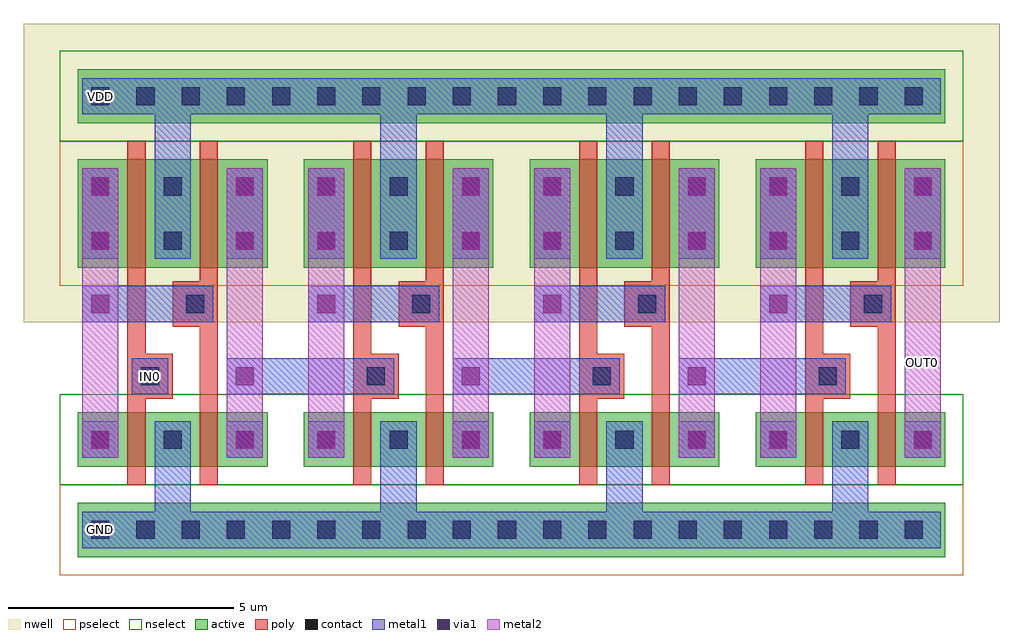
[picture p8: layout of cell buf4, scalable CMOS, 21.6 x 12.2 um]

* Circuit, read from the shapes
.subckt buf4 GND IN0 OUT0 VDD
M1 GND IN0 n1 GND nfet w=1.2u l=0.4u
M2 n2 n1 GND GND nfet w=1.2u l=0.4u
M3 GND n2 n3 GND nfet w=1.2u l=0.4u
M4 n4 n3 GND GND nfet w=1.2u l=0.4u
M5 GND n4 n5 GND nfet w=1.2u l=0.4u
M6 n6 n5 GND GND nfet w=1.2u l=0.4u
M7 GND n6 n7 GND nfet w=1.2u l=0.4u
M8 OUT0 n7 GND GND nfet w=1.2u l=0.4u
M9 VDD IN0 n1 VDD pfet w=2.4u l=0.4u
M10 n2 n1 VDD VDD pfet w=2.4u l=0.4u
M11 VDD n2 n3 VDD pfet w=2.4u l=0.4u
M12 n4 n3 VDD VDD pfet w=2.4u l=0.4u
M13 VDD n4 n5 VDD pfet w=2.4u l=0.4u
M14 n6 n5 VDD VDD pfet w=2.4u l=0.4u
M15 VDD n6 n7 VDD pfet w=2.4u l=0.4u
M16 OUT0 n7 VDD VDD pfet w=2.4u l=0.4u
.ends

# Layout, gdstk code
import gdstk
lib = gdstk.Library(unit=1e-6, precision=1e-09)
def R(c, l, rs):  # rectangles x0, y0, x1, y1
    for r in rs: c.add(gdstk.rectangle(r[:2], r[2:], *l))
def A(c, l, x, y, w, h, nx, ny, dx, dy):  # array of equal rectangles
    R(c, l, [(x+i*dx, y+j*dy, x+i*dx+w, y+j*dy+h) for i in range(nx) for j in range(ny)])
contact = (25, 0)
nwell = (42, 0)
active = (43, 0)
pselect = (44, 0)
nselect = (45, 0)
poly = (46, 0)
metal1 = (49, 0)
via1 = (50, 0)
metal2 = (51, 0)

buf4 = lib.new_cell('buf4')
A(buf4, contact, -13, -5, 0.4, 0.4, 4, 2, 1, 9.6)
A(buf4, contact, 2, -5, 0.4, 0.4, 4, 2, 1, 9.6)
A(buf4, contact, -11.9, -1.6, 0.4, 0.4, 4, 1, 5, 0)
A(buf4, contact, -10.9, 0, 0.4, 0.4, 4, 1, 5, 0)
R(buf4, contact, [(-13,-5,-12.6,-4.6), (-13,-5,-12.6,-4.6), (-10,-5,-9.6,-4.6), (-10,-5,-9.6,-4.6), (-9,-5,-8.6,-4.6), (-9,-5,-8.6,-4.6), (-8,-5,-7.6,-4.6), (-8,-5,-7.6,-4.6), (-7,-5,-6.6,-4.6), (-7,-5,-6.6,-4.6), (-6,-5,-5.6,-4.6), (-6,-5,-5.6,-4.6), (-6,-5,-5.6,-4.6), (-5,-5,-4.6,-4.6), (-5,-5,-4.6,-4.6), (-5,-5,-4.6,-4.6), (-4,-5,-3.6,-4.6), (-4,-5,-3.6,-4.6), (-3,-5,-2.6,-4.6), (-3,-5,-2.6,-4.6), (-3,-5,-2.6,-4.6), (-2,-5,-1.6,-4.6), (-2,-5,-1.6,-4.6), (-2,-5,-1.6,-4.6), (-1,-5,-0.6,-4.6), (-1,-5,-0.6,-4.6), (0,-5,0.4,-4.6), (0,-5,0.4,-4.6), (1,-5,1.4,-4.6), (1,-5,1.4,-4.6), (2,-5,2.4,-4.6), (-13,-3,-12.6,-2.6), (-11.4,-3,-11,-2.6), (-11.4,-3,-11,-2.6), (-9.8,-3,-9.4,-2.6), (-8,-3,-7.6,-2.6), (-6.4,-3,-6,-2.6), (-6.4,-3,-6,-2.6), (-4.8,-3,-4.4,-2.6), (-3,-3,-2.6,-2.6), (-1.4,-3,-1,-2.6), (-1.4,-3,-1,-2.6), (0.2,-3,0.6,-2.6), (2,-3,2.4,-2.6), (3.6,-3,4,-2.6), (3.6,-3,4,-2.6), (5.2,-3,5.6,-2.6), (-13,1.4,-12.6,1.8), (-11.4,1.4,-11,1.8), (-11.4,1.4,-11,1.8), (-9.8,1.4,-9.4,1.8), (-8,1.4,-7.6,1.8), (-6.4,1.4,-6,1.8), (-6.4,1.4,-6,1.8), (-4.8,1.4,-4.4,1.8), (-3,1.4,-2.6,1.8), (-1.4,1.4,-1,1.8), (-1.4,1.4,-1,1.8), (0.2,1.4,0.6,1.8), (2,1.4,2.4,1.8), (3.6,1.4,4,1.8), (3.6,1.4,4,1.8), (5.2,1.4,5.6,1.8), (-13,2.6,-12.6,3), (-11.4,2.6,-11,3), (-11.4,2.6,-11,3), (-9.8,2.6,-9.4,3), (-8,2.6,-7.6,3), (-6.4,2.6,-6,3), (-6.4,2.6,-6,3), (-4.8,2.6,-4.4,3), (-3,2.6,-2.6,3), (-1.4,2.6,-1,3), (-1.4,2.6,-1,3), (0.2,2.6,0.6,3), (2,2.6,2.4,3), (3.6,2.6,4,3), (3.6,2.6,4,3), (5.2,2.6,5.6,3), (-13,4.6,-12.6,5), (-13,4.6,-12.6,5), (-10,4.6,-9.6,5), (-10,4.6,-9.6,5), (-9,4.6,-8.6,5), (-9,4.6,-8.6,5), (-8,4.6,-7.6,5), (-8,4.6,-7.6,5), (-7,4.6,-6.6,5), (-7,4.6,-6.6,5), (-6,4.6,-5.6,5), (-6,4.6,-5.6,5), (-6,4.6,-5.6,5), (-5,4.6,-4.6,5), (-5,4.6,-4.6,5), (-5,4.6,-4.6,5), (-4,4.6,-3.6,5), (-4,4.6,-3.6,5), (-3,4.6,-2.6,5), (-3,4.6,-2.6,5), (-3,4.6,-2.6,5), (-2,4.6,-1.6,5), (-2,4.6,-1.6,5), (-2,4.6,-1.6,5), (-1,4.6,-0.6,5), (-1,4.6,-0.6,5), (0,4.6,0.4,5), (0,4.6,0.4,5), (1,4.6,1.4,5), (1,4.6,1.4,5), (2,4.6,2.4,5)])
A(buf4, nwell, -14.5, -0.2, 6.6, 6.6, 4, 1, 5, 0)
R(buf4, active, [(-13.3,-5.4,-10.7,-4.2), (-11.7,-5.4,5.9,-4.2), (-8.3,-5.4,-5.7,-4.2), (-6.7,-5.4,-4.1,-4.2), (-3.3,-5.4,-0.7,-4.2), (-1.7,-5.4,0.9,-4.2), (1.7,-5.4,4.3,-4.2), (3.3,-5.4,5.9,-4.2), (-13.3,-3.4,-10.7,-2.2), (-11.7,-3.4,-9.1,-2.2), (-8.3,-3.4,-5.7,-2.2), (-6.7,-3.4,-4.1,-2.2), (-3.3,-3.4,-0.7,-2.2), (-1.7,-3.4,0.9,-2.2), (1.7,-3.4,4.3,-2.2), (3.3,-3.4,5.9,-2.2), (-13.3,1,-10.7,3.4), (-11.7,1,-9.1,3.4), (-8.3,1,-5.7,3.4), (-6.7,1,-4.1,3.4), (-3.3,1,-0.7,3.4), (-1.7,1,0.9,3.4), (1.7,1,4.3,3.4), (3.3,1,5.9,3.4), (-13.3,4.2,-10.7,5.4), (-11.7,4.2,5.9,5.4), (-8.3,4.2,-5.7,5.4), (-6.7,4.2,-4.1,5.4), (-3.3,4.2,-0.7,5.4), (-1.7,4.2,0.9,5.4), (1.7,4.2,4.3,5.4), (3.3,4.2,5.9,5.4)])
R(buf4, pselect, [(-13.7,-5.8,-10.3,-3.8), (-12.1,-5.8,-8.7,-3.8), (-8.7,-5.8,-5.3,-3.8), (-7.1,-5.8,-3.7,-3.8), (-3.7,-5.8,-0.3,-3.8), (-2.1,-5.8,1.3,-3.8), (1.3,-5.8,4.7,-3.8), (2.9,-5.8,6.3,-3.8), (-13.7,0.6,-10.3,3.8), (-12.1,0.6,-8.7,3.8), (-8.7,0.6,-5.3,3.8), (-7.1,0.6,-3.7,3.8), (-3.7,0.6,-0.3,3.8), (-2.1,0.6,1.3,3.8), (1.3,0.6,4.7,3.8), (2.9,0.6,6.3,3.8)])
R(buf4, nselect, [(-13.7,-3.8,-10.3,-1.8), (-12.1,-3.8,-8.7,-1.8), (-8.7,-3.8,-5.3,-1.8), (-7.1,-3.8,-3.7,-1.8), (-3.7,-3.8,-0.3,-1.8), (-2.1,-3.8,1.3,-1.8), (1.3,-3.8,4.7,-1.8), (2.9,-3.8,6.3,-1.8), (-13.7,3.8,-10.3,5.8), (-12.1,3.8,-8.7,5.8), (-8.7,3.8,-5.3,5.8), (-7.1,3.8,-3.7,5.8), (-3.7,3.8,-0.3,5.8), (-2.1,3.8,1.3,5.8), (1.3,3.8,4.7,5.8), (2.9,3.8,6.3,5.8)])
A(buf4, poly, -12.2, -1.9, 1, 1, 4, 1, 5, 0)
A(buf4, poly, -10.6, -1.8, 0.4, 2.4, 4, 1, 5, 0)
A(buf4, poly, -11.2, -0.3, 1, 1, 4, 1, 5, 0)
R(buf4, poly, [(-12.2,-3.8,-11.8,-1.8), (-10.6,-3.8,-10.2,-1.8), (-7.2,-3.8,-6.8,-1.8), (-5.6,-3.8,-5.2,-1.8), (-2.2,-3.8,-1.8,-1.8), (-0.6,-3.8,-0.2,-1.8), (2.8,-3.8,3.2,-1.8), (4.4,-3.8,4.8,-1.8), (-12.2,-1.7,-11.8,0.6), (-7.2,-1.7,-6.8,0.6), (-5.6,-1.7,-5.2,0.6), (-2.2,-1.7,-1.8,0.6), (-0.6,-1.7,-0.2,0.6), (2.8,-1.7,3.2,0.6), (4.4,-1.7,4.8,0.6), (-12.2,0.6,-11.8,3.8), (-10.6,0.6,-10.2,3.8), (-7.2,0.6,-6.8,3.8), (-5.6,0.6,-5.2,3.8), (-2.2,0.6,-1.8,3.8), (-0.6,0.6,-0.2,3.8), (2.8,0.6,3.2,3.8), (4.4,0.6,4.8,3.8)])
A(buf4, metal1, -10, -1.8, 3.7, 0.8, 3, 1, 5, 0)
A(buf4, metal1, -13.2, -0.2, 2.9, 0.8, 4, 1, 5, 0)
R(buf4, metal1, [(-13.2,-5.2,-10.8,-4.4), (-11.6,-5.2,-10.8,-2.4), (-11.6,-5.2,-10.8,-2.4), (-11.6,-5.2,5.8,-4.4), (-8.2,-5.2,-5.8,-4.4), (-6.6,-5.2,-4.2,-4.4), (-6.6,-5.2,-5.8,-2.4), (-6.6,-5.2,-5.8,-2.4), (-3.2,-5.2,-0.8,-4.4), (-1.6,-5.2,0.8,-4.4), (-1.6,-5.2,-0.8,-2.4), (-1.6,-5.2,-0.8,-2.4), (1.8,-5.2,4.2,-4.4), (3.4,-5.2,5.8,-4.4), (3.4,-5.2,4.2,-2.4), (3.4,-5.2,4.2,-2.4), (-13.2,-3.2,-12.4,-2.4), (-10,-3.2,-9.2,-2.4), (-8.2,-3.2,-7.4,-2.4), (-5,-3.2,-4.2,-2.4), (-3.2,-3.2,-2.4,-2.4), (0,-3.2,0.8,-2.4), (1.8,-3.2,2.6,-2.4), (5,-3.2,5.8,-2.4), (-12.1,-1.8,-11.3,-1), (-13.2,1.2,-12.4,3.2), (-11.6,1.2,-10.8,5.2), (-11.6,1.2,-10.8,5.2), (-10,1.2,-9.2,3.2), (-8.2,1.2,-7.4,3.2), (-6.6,1.2,-5.8,5.2), (-6.6,1.2,-5.8,5.2), (-5,1.2,-4.2,3.2), (-3.2,1.2,-2.4,3.2), (-1.6,1.2,-0.8,5.2), (-1.6,1.2,-0.8,5.2), (0,1.2,0.8,3.2), (1.8,1.2,2.6,3.2), (3.4,1.2,4.2,5.2), (3.4,1.2,4.2,5.2), (5,1.2,5.8,3.2), (-13.2,4.4,-10.8,5.2), (-11.6,4.4,5.8,5.2), (-8.2,4.4,-5.8,5.2), (-6.6,4.4,-4.2,5.2), (-3.2,4.4,-0.8,5.2), (-1.6,4.4,0.8,5.2), (1.8,4.4,4.2,5.2), (3.4,4.4,5.8,5.2)])
A(buf4, via1, -9.8, -1.6, 0.4, 0.4, 3, 1, 5, 0)
A(buf4, via1, -13, 0, 0.4, 0.4, 4, 1, 5, 0)
R(buf4, via1, [(-13,-3,-12.6,-2.6), (-9.8,-3,-9.4,-2.6), (-8,-3,-7.6,-2.6), (-4.8,-3,-4.4,-2.6), (-3,-3,-2.6,-2.6), (0.2,-3,0.6,-2.6), (2,-3,2.4,-2.6), (5.2,-3,5.6,-2.6), (-13,1.4,-12.6,1.8), (-9.8,1.4,-9.4,1.8), (-8,1.4,-7.6,1.8), (-4.8,1.4,-4.4,1.8), (-3,1.4,-2.6,1.8), (0.2,1.4,0.6,1.8), (2,1.4,2.4,1.8), (5.2,1.4,5.6,1.8), (-13,2.6,-12.6,3), (-9.8,2.6,-9.4,3), (-8,2.6,-7.6,3), (-4.8,2.6,-4.4,3), (-3,2.6,-2.6,3), (0.2,2.6,0.6,3), (2,2.6,2.4,3), (5.2,2.6,5.6,3)])
R(buf4, metal2, [(-13.2,-3.2,-12.4,3.2), (-10,-3.2,-9.2,3.2), (-8.2,-3.2,-7.4,3.2), (-5,-3.2,-4.2,3.2), (-3.2,-3.2,-2.4,3.2), (0,-3.2,0.8,3.2), (1.8,-3.2,2.6,3.2), (5,-3.2,5.8,3.2), (-13.2,-3.1,-12.4,3.2), (-10,-3.1,-9.2,3.2), (-8.2,-3.1,-7.4,3.2), (-5,-3.1,-4.2,3.2), (-3.2,-3.1,-2.4,3.2), (0,-3.1,0.8,3.2), (1.8,-3.1,2.6,3.2)])
buf4.add(gdstk.Label('IN0', (-11.7,-1.4), layer=75, texttype=0))
buf4.add(gdstk.Label('GND', (-12.8,-4.8), layer=75, texttype=0))
buf4.add(gdstk.Label('VDD', (-12.8,4.8), layer=75, texttype=0))
buf4.add(gdstk.Label('OUT0', (5.4,-1.1), layer=76, texttype=0))

lib.write_gds('buf4.gds')
